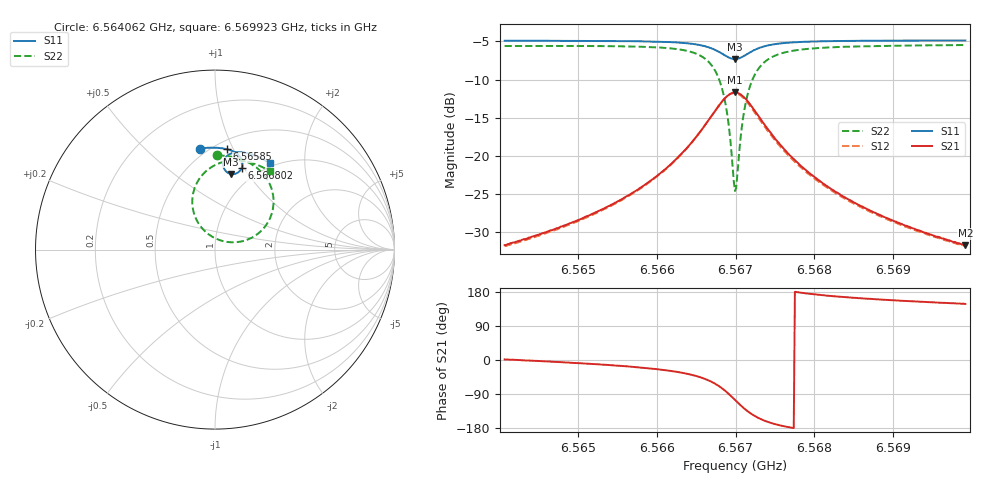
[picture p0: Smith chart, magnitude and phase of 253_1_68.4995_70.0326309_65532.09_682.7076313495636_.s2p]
#  HZ  S  RI  R  50.00
! Rohde & Schwarz Vector Network Analyzer
! Rohde-Schwarz,ZNB20-2Port,1311601062101988,3.16
! Created: UTC 3/20/2024, 4:59:55 PM
! freq[Hz]  re:S11  im:S11  re:S21  im:S21  re:S12  im:S12  re:S22  im:S22
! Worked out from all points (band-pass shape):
!   401 points, 6.564062 GHz to 6.569923 GHz, reference 50 ohm
!   highest |S21| = -11.69 dB at 6.566992 GHz (marker M1); lowest = -31.7 dB at 6.569923 GHz (marker M2)
!   |S21| within 3 dB of the highest: 6.5667 GHz to 6.567285 GHz (584.9 kHz wide, 0.00891 % of centre)
!   lowest |S11| = -7.3 dB at 6.566992 GHz (marker M3), VSWR 2.51, Z = 40.3 + j41.8 ohm
!   |S11| at or under -10 dB: nowhere
!   |S22| runs from -24.6 to -5.5 dB; largest |S21 - S12| = 0.012
!   S11 on the Smith chart (normalised r, x): 6.564062 GHz: 0.45, +0.75; 6.56585 GHz: 0.58, +0.94; 6.566802 GHz: 0.83, +0.97; 6.569923 GHz: 0.94, +1.35
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6.564062e9  -0.0853 0.5626  0.026 0.000723  0.0256 0.000205  0.0132 0.5248
6.5650437e9  -0.00614 0.5678  0.0382 -0.00594  0.0377 -0.00653  0.1028 0.515
6.5658496e9  0.0661 0.5595  0.0605 -0.0231  0.0596 -0.0237  0.1984 0.4789
6.5660254e9  0.0839 0.5543  0.0686 -0.0317  0.0676 -0.0325  0.2253 0.4614
6.5663331e9  0.1177 0.5377  0.0875 -0.0596  0.0861 -0.0608  0.2809 0.4064
6.5665529e9  0.1426 0.5122  0.101 -0.1034  0.0988 -0.1054  0.3199 0.3216
6.5666994e9  0.1529 0.482  0.0973 -0.1563  0.0935 -0.1592  0.3214 0.2204
6.566802e9  0.1481 0.4529  0.0715 -0.2062  0.0651 -0.2091  0.2773 0.1265
6.5668899e9  0.1279 0.4293  0.0203 -0.2448  0.0108 -0.2454  0.1842 0.0569
6.5669192e9  0.1177 0.4242  -0.00341 -0.2526  -0.0136 -0.2516  0.1418 0.0445
6.5669632e9  0.0999 0.4206  -0.0423 -0.2556  -0.053 -0.2519  0.0724 0.0422
6.5669925e9  0.0876 0.4218  -0.0688 -0.251  -0.079 -0.2457  0.0263 0.0525
6.5670218e9  0.0759 0.4259  -0.0939 -0.2412  -0.1032 -0.2343  -0.0163 0.0725
6.5670804e9  0.0573 0.4407  -0.1345 -0.2098  -0.141 -0.2003  -0.0825 0.1325
6.5671243e9  0.0489 0.4553  -0.1542 -0.1803  -0.1583 -0.1702  -0.1117 0.1863
6.567183e9  0.0452 0.4751  -0.1666 -0.141  -0.1678 -0.1313  -0.1264 0.2562
6.5672562e9  0.0493 0.4966  -0.1661 -0.0988  -0.1652 -0.0908  -0.1178 0.329
6.56752e9  0.0884 0.5349  -0.1246 -0.0213  -0.1219 -0.018  -0.0226 0.4578
6.5679742e9  0.1471 0.5422  -0.074 0.00806  -0.0723 0.00902  0.0967 0.4965
6.5683991e9  0.1886 0.5347  -0.0514 0.013  -0.0503 0.0136  0.1637 0.4926
6.5689559e9  0.2348 0.5188  -0.0357 0.0142  -0.0349 0.0146  0.226 0.4758
6.569923e9  0.3045 0.483  -0.022 0.0138  -0.0216 0.0139  0.3062 0.4362
